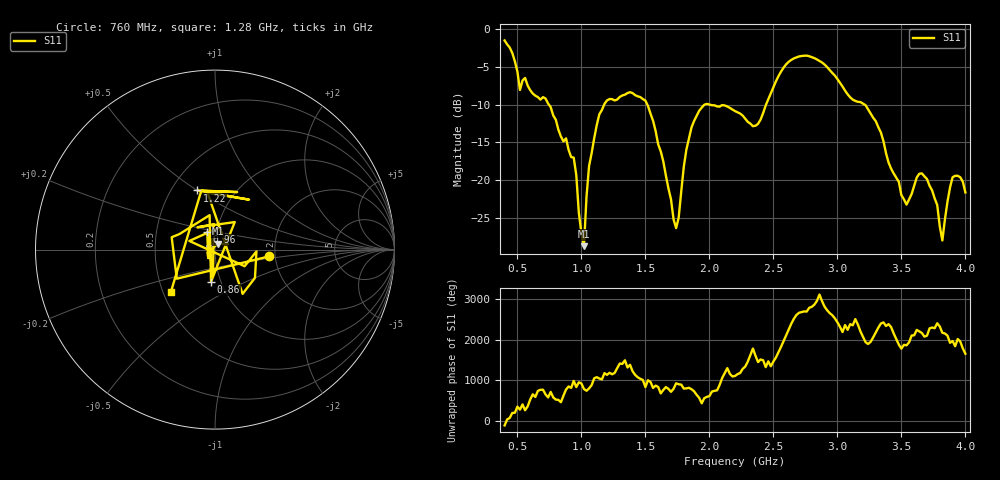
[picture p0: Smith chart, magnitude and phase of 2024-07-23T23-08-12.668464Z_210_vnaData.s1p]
!Created with skrf (http://scikit-rf.org).
# Hz S RI R 50.0
!freq ReS11 ImS11
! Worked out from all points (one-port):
!   181 points, 400 MHz to 4 GHz, reference 50 ohm
!   lowest |S11| = -28.8 dB at 1.02 GHz (marker M1), VSWR 1.08, Z = 51.5 + j3.39 ohm
!   |S11| at or under -10 dB: 1.515 GHz to 1.964 GHz (449.7 MHz wide, 25.8 % of centre); 2.001 GHz to 2.443 GHz (441.6 MHz wide, 19.9 % of centre); 3.211 GHz to end of sweep (the widest 3 of 4)
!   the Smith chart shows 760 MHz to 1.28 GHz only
!   S11 on the Smith chart (normalised r, x): 760 MHz: 1.86, -0.15; 860 MHz: 0.90, -0.33; 960 MHz: 0.90, +0.18; 1.22 GHz: 0.67, +0.50; 1.28 GHz: 0.55, -0.29
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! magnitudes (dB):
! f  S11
! 400 MHz  -1.5
! 520 MHz  -8.1
! 760 MHz  -10.3
! 860 MHz  -14.9
! 960 MHz  -19.3
! 1.02 GHz  -28.8
! 1.06 GHz  -18.1
! 1.14 GHz  -11.3
! 1.22 GHz  -9.3
! 1.28 GHz  -9.3
! 1.3 GHz  -9.0
! 1.5 GHz  -9.5
! 1.72 GHz  -25.2
! 1.76 GHz  -25.0
! 1.82 GHz  -16.0
! 1.92 GHz  -10.8
! 2.2 GHz  -10.9
! 2.38 GHz  -12.6
! 2.66 GHz  -3.9
! 2.88 GHz  -4.4
! 3.1 GHz  -9.0
! 3.3 GHz  -12.2
! 3.56 GHz  -22.6
! 3.7 GHz  -19.9
! 3.78 GHz  -23.3
! 3.82 GHz  -28.0
! 3.9 GHz  -19.6
! 4 GHz  -21.6
